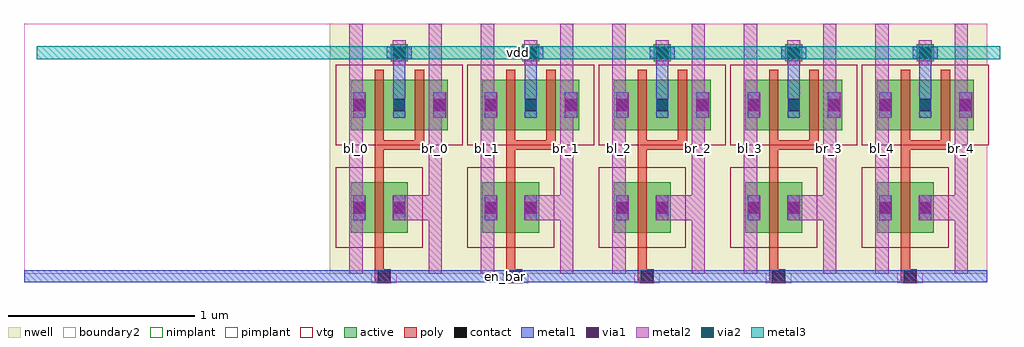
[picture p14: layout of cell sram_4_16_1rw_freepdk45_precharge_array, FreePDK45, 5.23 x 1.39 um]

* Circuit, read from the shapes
.subckt sram_4_16_1rw_freepdk45_precharge_array bl_0 bl_1 bl_2 bl_3 bl_4 br_0 br_1 br_2 br_3 br_4 en_bar vdd
M1 br_0 en_bar bl_0 vdd pfet w=0.27u l=0.05u
M2 vdd en_bar bl_0 vdd pfet w=0.27u l=0.05u
M3 br_0 en_bar vdd vdd pfet w=0.27u l=0.05u
M4 br_1 en_bar bl_1 vdd pfet w=0.27u l=0.05u
M5 vdd en_bar bl_1 vdd pfet w=0.27u l=0.05u
M6 br_1 en_bar vdd vdd pfet w=0.27u l=0.05u
M7 br_2 en_bar bl_2 vdd pfet w=0.27u l=0.05u
M8 vdd en_bar bl_2 vdd pfet w=0.27u l=0.05u
M9 br_2 en_bar vdd vdd pfet w=0.27u l=0.05u
M10 br_3 en_bar bl_3 vdd pfet w=0.27u l=0.05u
M11 vdd en_bar bl_3 vdd pfet w=0.27u l=0.05u
M12 br_3 en_bar vdd vdd pfet w=0.27u l=0.05u
M13 br_4 en_bar bl_4 vdd pfet w=0.27u l=0.05u
M14 vdd en_bar bl_4 vdd pfet w=0.27u l=0.05u
M15 br_4 en_bar vdd vdd pfet w=0.27u l=0.05u
.ends

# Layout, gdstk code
import gdstk
lib = gdstk.Library(unit=1e-6, precision=5e-10)
def R(c, l, rs):  # rectangles x0, y0, x1, y1
    for r in rs: c.add(gdstk.rectangle(r[:2], r[2:], *l))
active = (1, 0)
nwell = (3, 0)
nimplant = (4, 0)
pimplant = (5, 0)
vtg = (6, 0)
poly = (9, 0)
contact = (10, 0)
metal1 = (11, 0)
via1 = (12, 0)
metal2 = (13, 0)
via2 = (14, 0)
metal3 = (15, 0)
boundary2 = (239, 0)

sram_4_16_1rw_freepdk45_ = lib.new_cell('sram_4_16_1rw_freepdk45_contact_11')
R(sram_4_16_1rw_freepdk45_, active, [(0,0.0225,0.09,0.1125)])
R(sram_4_16_1rw_freepdk45_, nwell, [(-0.055,-0.0325,0.145,0.1675)])
R(sram_4_16_1rw_freepdk45_, pimplant, [(0,0.0225,0.09,0.1125)])
R(sram_4_16_1rw_freepdk45_, contact, [(0.0125,0.035,0.0775,0.1)])
R(sram_4_16_1rw_freepdk45_, metal1, [(0.0125,0,0.0775,0.135)])
R(sram_4_16_1rw_freepdk45_, boundary2, [(-0.055,-0.0325,0.145,0.1675)])

c_sram_4_16_1rw_freepdk45_ = lib.new_cell('sram_4_16_1rw_freepdk45_pmos_m1_w0_270_sm1_dm1')
R(c_sram_4_16_1rw_freepdk45_, active, [(0,0,0.305,0.27)])
R(c_sram_4_16_1rw_freepdk45_, nwell, [(-0.08,-0.08,0.385,0.35)])
R(c_sram_4_16_1rw_freepdk45_, pimplant, [(0,0,0.305,0.27)])
R(c_sram_4_16_1rw_freepdk45_, vtg, [(-0.08,-0.08,0.385,0.35)])
R(c_sram_4_16_1rw_freepdk45_, poly, [(0.1275,-0.055,0.1775,0.325), (0.1275,-0.055,0.1775,0.325)])
R(c_sram_4_16_1rw_freepdk45_, metal1, [(0.0125,0.0675,0.0775,0.2025), (0.2275,0.0675,0.2925,0.2025)])
R(c_sram_4_16_1rw_freepdk45_, boundary2, [(-0.08,-0.08,0.385,0.35)])
c_sram_4_16_1rw_freepdk45_.add(gdstk.Reference(sram_4_16_1rw_freepdk45_, (0,0.0675)))
c_sram_4_16_1rw_freepdk45_.add(gdstk.Reference(sram_4_16_1rw_freepdk45_, (0.215,0.0675)))
c_sram_4_16_1rw_freepdk45_.add(gdstk.Label('G', (0.1525,0.135), layer=9, texttype=0))
c_sram_4_16_1rw_freepdk45_.add(gdstk.Label('S', (0.045,0.135), layer=11, texttype=0))
c_sram_4_16_1rw_freepdk45_.add(gdstk.Label('D', (0.26,0.135), layer=11, texttype=0))

c_sram_4_16_1rw_freepdk45__ = lib.new_cell('sram_4_16_1rw_freepdk45_contact_14')
R(c_sram_4_16_1rw_freepdk45__, poly, [(0.03,0,0.105,0.075)])
R(c_sram_4_16_1rw_freepdk45__, contact, [(0.035,0.005,0.1,0.07)])
R(c_sram_4_16_1rw_freepdk45__, metal1, [(0,0.005,0.135,0.07)])
R(c_sram_4_16_1rw_freepdk45__, boundary2, [(0,0,0.135,0.075)])

c_sram_4_16_1rw_freepdk45___ = lib.new_cell('sram_4_16_1rw_freepdk45_contact_22')
R(c_sram_4_16_1rw_freepdk45___, active, [(0.0225,0,0.1125,0.09)])
R(c_sram_4_16_1rw_freepdk45___, nwell, [(-0.0325,-0.055,0.1675,0.145)])
R(c_sram_4_16_1rw_freepdk45___, nimplant, [(0.0225,0,0.1125,0.09)])
R(c_sram_4_16_1rw_freepdk45___, contact, [(0.035,0.0125,0.1,0.0775)])
R(c_sram_4_16_1rw_freepdk45___, metal1, [(0,0.0125,0.135,0.0775)])
R(c_sram_4_16_1rw_freepdk45___, boundary2, [(-0.0325,-0.055,0.1675,0.145)])

c_sram_4_16_1rw_freepdk45____ = lib.new_cell('sram_4_16_1rw_freepdk45_contact_17')
R(c_sram_4_16_1rw_freepdk45____, metal1, [(0,0.035,0.135,0.1)])
R(c_sram_4_16_1rw_freepdk45____, via1, [(0.035,0.035,0.1,0.1)])
R(c_sram_4_16_1rw_freepdk45____, metal2, [(0.0325,0,0.1025,0.135)])
R(c_sram_4_16_1rw_freepdk45____, boundary2, [(0,0,0.135,0.135)])

c_sram_4_16_1rw_freepdk45_____ = lib.new_cell('sram_4_16_1rw_freepdk45_contact_23')
R(c_sram_4_16_1rw_freepdk45_____, metal1, [(0.0025,0,0.0675,0.135)])
R(c_sram_4_16_1rw_freepdk45_____, via1, [(0.0025,0.035,0.0675,0.1)])
R(c_sram_4_16_1rw_freepdk45_____, metal2, [(0,0,0.07,0.135)])
R(c_sram_4_16_1rw_freepdk45_____, boundary2, [(0,0,0.07,0.135)])

c_sram_4_16_1rw_freepdk45______ = lib.new_cell('sram_4_16_1rw_freepdk45_precharge_0')
R(c_sram_4_16_1rw_freepdk45______, nwell, [(0,0,0.705,1.34)])
R(c_sram_4_16_1rw_freepdk45______, poly, [(0.24,-0.0375,0.29,0.0125), (0.265,-0.0375,0.29,0.0125), (0.24,-0.0125,0.29,0.165), (0.24,0.545,0.29,0.715), (0.24,0.665,0.505,0.715)])
R(c_sram_4_16_1rw_freepdk45______, metal1, [(0,-0.045,0.705,0.02), (0.34,0.905,0.405,1.185), (0.34,1.1525,0.405,1.2175)])
R(c_sram_4_16_1rw_freepdk45______, metal2, [(0.105,0,0.175,1.34), (0.105,0,0.175,1.34), (0.53,0,0.6,1.34), (0.53,0,0.6,1.34), (0.14,0.2875,0.1575,0.4225), (0.3725,0.2875,0.565,0.4225), (0.14,0.8375,0.1575,0.9725), (0.565,0.8375,0.5875,0.9725)])
R(c_sram_4_16_1rw_freepdk45______, boundary2, [(0,0,0.705,1.34)])
c_sram_4_16_1rw_freepdk45______.add(gdstk.Reference(c_sram_4_16_1rw_freepdk45_, (0.1125,0.22)))
c_sram_4_16_1rw_freepdk45______.add(gdstk.Reference(c_sram_4_16_1rw_freepdk45_, (0.1125,0.77)))
c_sram_4_16_1rw_freepdk45______.add(gdstk.Reference(c_sram_4_16_1rw_freepdk45_, (0.3275,0.77)))
c_sram_4_16_1rw_freepdk45______.add(gdstk.Reference(c_sram_4_16_1rw_freepdk45__, (0.2225,-0.05)))
c_sram_4_16_1rw_freepdk45______.add(gdstk.Reference(c_sram_4_16_1rw_freepdk45___, (0.305,1.14)))
c_sram_4_16_1rw_freepdk45______.add(gdstk.Reference(c_sram_4_16_1rw_freepdk45____, (0.305,1.1175)))
c_sram_4_16_1rw_freepdk45______.add(gdstk.Reference(c_sram_4_16_1rw_freepdk45_____, (0.1225,0.2875)))
c_sram_4_16_1rw_freepdk45______.add(gdstk.Reference(c_sram_4_16_1rw_freepdk45_____, (0.3375,0.2875)))
c_sram_4_16_1rw_freepdk45______.add(gdstk.Reference(c_sram_4_16_1rw_freepdk45_____, (0.1225,0.8375)))
c_sram_4_16_1rw_freepdk45______.add(gdstk.Reference(c_sram_4_16_1rw_freepdk45_____, (0.5525,0.8375)))
c_sram_4_16_1rw_freepdk45______.add(gdstk.Label('en_bar', (0.3525,-0.0125), layer=11, texttype=0))
c_sram_4_16_1rw_freepdk45______.add(gdstk.Label('vdd', (0.3725,1.185), layer=11, texttype=0))
c_sram_4_16_1rw_freepdk45______.add(gdstk.Label('bl', (0.14,0.67), layer=13, texttype=0))
c_sram_4_16_1rw_freepdk45______.add(gdstk.Label('br', (0.565,0.67), layer=13, texttype=0))

c_sram_4_16_1rw_freepdk45_______ = lib.new_cell('sram_4_16_1rw_freepdk45_contact_18')
R(c_sram_4_16_1rw_freepdk45_______, metal2, [(0.0325,0,0.1025,0.135)])
R(c_sram_4_16_1rw_freepdk45_______, via2, [(0.035,0.035,0.1,0.1)])
R(c_sram_4_16_1rw_freepdk45_______, metal3, [(0,0.0325,0.135,0.1025)])
R(c_sram_4_16_1rw_freepdk45_______, boundary2, [(0,0,0.135,0.135)])

c_sram_4_16_1rw_freepdk45________ = lib.new_cell('sram_4_16_1rw_freepdk45_precharge_array')
R(c_sram_4_16_1rw_freepdk45________, metal1, [(0,-0.045,5.165,0.02), (1.96,-0.045,2.025,0.02), (1.96,-0.045,2.025,0.02), (2.665,-0.045,2.73,0.02), (2.665,-0.045,2.73,0.02), (3.37,-0.045,3.435,0.02), (3.37,-0.045,3.435,0.02), (4.075,-0.045,4.14,0.02), (4.075,-0.045,4.14,0.02), (4.78,-0.045,4.845,0.02), (4.78,-0.045,4.845,0.02)])
R(c_sram_4_16_1rw_freepdk45________, metal2, [(1.745,0,1.815,1.34), (2.17,0,2.24,1.34), (2.45,0,2.52,1.34), (2.875,0,2.945,1.34), (3.155,0,3.225,1.34), (3.58,0,3.65,1.34), (3.86,0,3.93,1.34), (4.285,0,4.355,1.34), (4.565,0,4.635,1.34), (4.99,0,5.06,1.34)])
R(c_sram_4_16_1rw_freepdk45________, metal3, [(0.0675,1.15,5.2325,1.22)])
R(c_sram_4_16_1rw_freepdk45________, boundary2, [(0,0,5.165,1.34)])
c_sram_4_16_1rw_freepdk45________.add(gdstk.Reference(c_sram_4_16_1rw_freepdk45______, (1.64,0)))
c_sram_4_16_1rw_freepdk45________.add(gdstk.Reference(c_sram_4_16_1rw_freepdk45______, (2.345,0)))
c_sram_4_16_1rw_freepdk45________.add(gdstk.Reference(c_sram_4_16_1rw_freepdk45______, (3.05,0)))
c_sram_4_16_1rw_freepdk45________.add(gdstk.Reference(c_sram_4_16_1rw_freepdk45______, (3.755,0)))
c_sram_4_16_1rw_freepdk45________.add(gdstk.Reference(c_sram_4_16_1rw_freepdk45______, (4.46,0)))
c_sram_4_16_1rw_freepdk45________.add(gdstk.Reference(c_sram_4_16_1rw_freepdk45____, (1.945,1.1175)))
c_sram_4_16_1rw_freepdk45________.add(gdstk.Reference(c_sram_4_16_1rw_freepdk45_______, (1.945,1.1175)))
c_sram_4_16_1rw_freepdk45________.add(gdstk.Reference(c_sram_4_16_1rw_freepdk45____, (2.65,1.1175)))
c_sram_4_16_1rw_freepdk45________.add(gdstk.Reference(c_sram_4_16_1rw_freepdk45_______, (2.65,1.1175)))
c_sram_4_16_1rw_freepdk45________.add(gdstk.Reference(c_sram_4_16_1rw_freepdk45____, (3.355,1.1175)))
c_sram_4_16_1rw_freepdk45________.add(gdstk.Reference(c_sram_4_16_1rw_freepdk45_______, (3.355,1.1175)))
c_sram_4_16_1rw_freepdk45________.add(gdstk.Reference(c_sram_4_16_1rw_freepdk45____, (4.06,1.1175)))
c_sram_4_16_1rw_freepdk45________.add(gdstk.Reference(c_sram_4_16_1rw_freepdk45_______, (4.06,1.1175)))
c_sram_4_16_1rw_freepdk45________.add(gdstk.Reference(c_sram_4_16_1rw_freepdk45____, (4.765,1.1175)))
c_sram_4_16_1rw_freepdk45________.add(gdstk.Reference(c_sram_4_16_1rw_freepdk45_______, (4.765,1.1175)))
c_sram_4_16_1rw_freepdk45________.add(gdstk.Label('en_bar', (2.5825,-0.0125), layer=11, texttype=0))
c_sram_4_16_1rw_freepdk45________.add(gdstk.Label('bl_0', (1.78,0.67), layer=13, texttype=0))
c_sram_4_16_1rw_freepdk45________.add(gdstk.Label('br_0', (2.205,0.67), layer=13, texttype=0))
c_sram_4_16_1rw_freepdk45________.add(gdstk.Label('bl_1', (2.485,0.67), layer=13, texttype=0))
c_sram_4_16_1rw_freepdk45________.add(gdstk.Label('br_1', (2.91,0.67), layer=13, texttype=0))
c_sram_4_16_1rw_freepdk45________.add(gdstk.Label('bl_2', (3.19,0.67), layer=13, texttype=0))
c_sram_4_16_1rw_freepdk45________.add(gdstk.Label('br_2', (3.615,0.67), layer=13, texttype=0))
c_sram_4_16_1rw_freepdk45________.add(gdstk.Label('bl_3', (3.895,0.67), layer=13, texttype=0))
c_sram_4_16_1rw_freepdk45________.add(gdstk.Label('br_3', (4.32,0.67), layer=13, texttype=0))
c_sram_4_16_1rw_freepdk45________.add(gdstk.Label('bl_4', (4.6,0.67), layer=13, texttype=0))
c_sram_4_16_1rw_freepdk45________.add(gdstk.Label('br_4', (5.025,0.67), layer=13, texttype=0))
c_sram_4_16_1rw_freepdk45________.add(gdstk.Label('vdd', (2.65,1.185), layer=15, texttype=0))

lib.write_gds('sram_4_16_1rw_freepdk45_precharge_array.gds')
